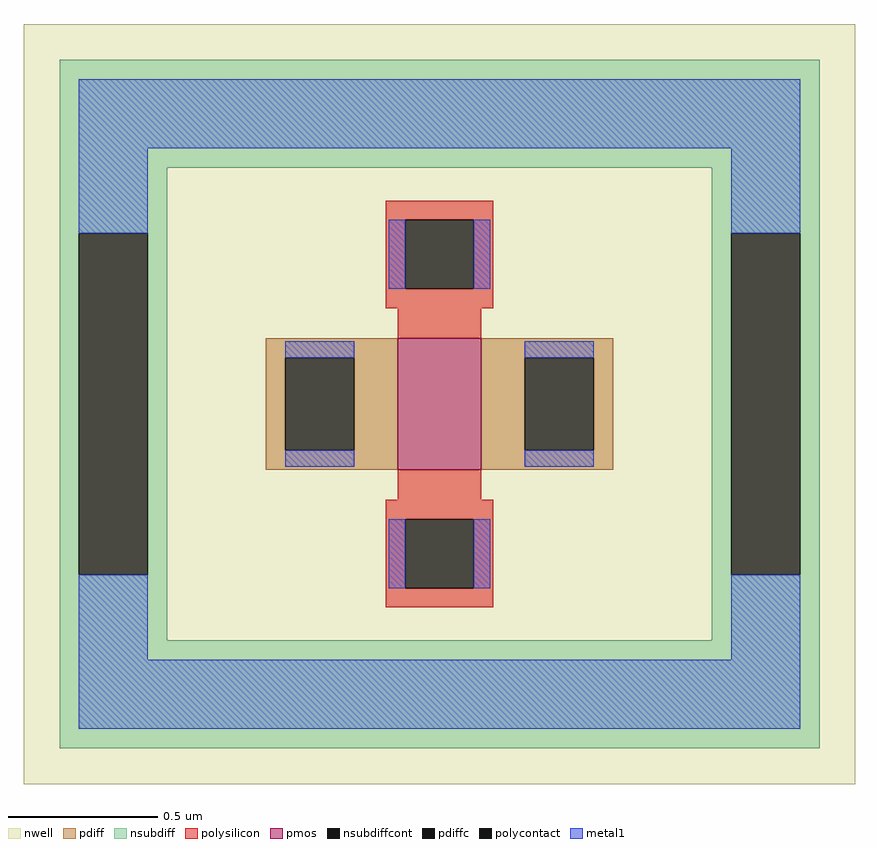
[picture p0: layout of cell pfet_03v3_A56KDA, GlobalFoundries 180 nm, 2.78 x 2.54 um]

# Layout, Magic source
magic
tech gf180mcuC
magscale 1 10
<< nwell >>
rect -278 -254 278 254
<< pmos >>
rect -28 -44 28 44
<< pdiff >>
rect -116 31 -28 44
rect -116 -31 -103 31
rect -57 -31 -28 31
rect -116 -44 -28 -31
rect 28 31 116 44
rect 28 -31 57 31
rect 103 -31 116 31
rect 28 -44 116 -31
<< pdiffc >>
rect -103 -31 -57 31
rect 57 -31 103 31
<< nsubdiff >>
rect -254 158 254 230
rect -254 114 -182 158
rect -254 -114 -241 114
rect -195 -114 -182 114
rect 182 114 254 158
rect -254 -158 -182 -114
rect 182 -114 195 114
rect 241 -114 254 114
rect 182 -158 254 -114
rect -254 -230 254 -158
<< nsubdiffcont >>
rect -241 -114 -195 114
rect 195 -114 241 114
<< polysilicon >>
rect -36 123 36 136
rect -36 77 -23 123
rect 23 77 36 123
rect -36 64 36 77
rect -28 44 28 64
rect -28 -64 28 -44
rect -36 -77 36 -64
rect -36 -123 -23 -77
rect 23 -123 36 -77
rect -36 -136 36 -123
<< polycontact >>
rect -23 77 23 123
rect -23 -123 23 -77
<< metal1 >>
rect -241 171 241 217
rect -241 114 -195 171
rect -34 77 -23 123
rect 23 77 34 123
rect 195 114 241 171
rect -103 31 -57 42
rect -103 -42 -57 -31
rect 57 31 103 42
rect 57 -42 103 -31
rect -241 -171 -195 -114
rect -34 -123 -23 -77
rect 23 -123 34 -77
rect 195 -171 241 -114
rect -241 -217 241 -171
<< properties >>
string FIXED_BBOX -218 -194 218 194
string gencell pfet_03v3
string library gf180mcu
string parameters w 0.44 l 0.28 m 1 nf 1 diffcov 100 polycov 100 guard 1 glc 1 grc 1 gtc 0 gbc 0 tbcov 100 rlcov 100 topc 1 botc 1 poverlap 0 doverlap 1 lmin 0.28 wmin 0.22 class mosfet full_metal 1 compatible {pfet_03v3 pfet_05v0 pfet_06v0} ad {int((nf+1)/2) * W/nf * 0.18u} as {int((nf+2)/2) * W/nf * 0.18u} pd {2*int((nf+1)/2) * (W/nf + 0.18u)} ps {2*int((nf+2)/2) * (W/nf + 0.18u)} nrd {0.18u / W} nrs {0.18u / W} sa 0 sb 0 sd 0
<< end >>
